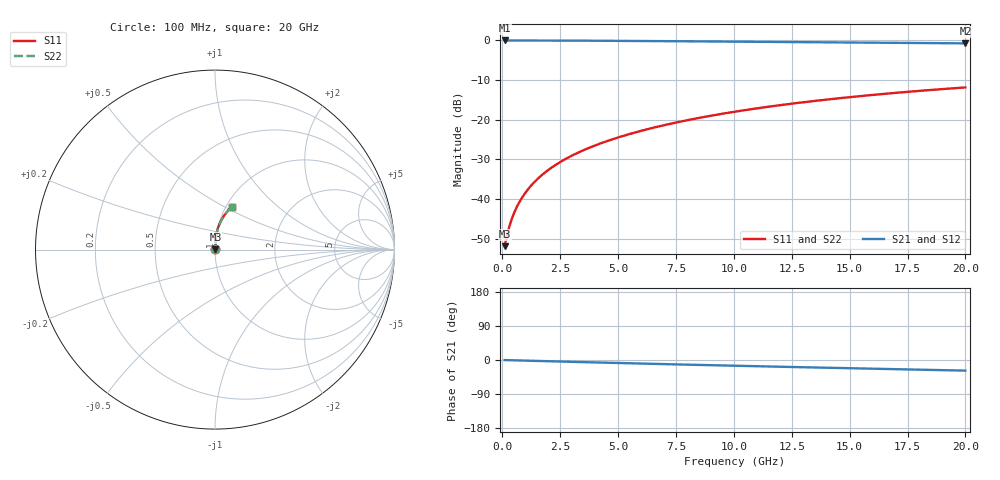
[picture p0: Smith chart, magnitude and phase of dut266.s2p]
! Touchstone file exported from HFSS 2024.1.0
!  File:  C:/UserFiles/LocalFiles/RDL_TSV_Batchsim/temp_RDL_top_266_1778689493.aedt
!  Generated:  12:27:08 AM May 14, 2026
!  Design:  RDL_top
!  Project:  temp_RDL_top_266_1778689493
!  Setup:  Setup1
!  Solution:  Sweep
! Variables:
!  dtsv = 10.80580581um
!  hbump = 3um
!  htsv = 87.51um
!  ldown = 100um
!  lrdl = 408.91um
!  p = 40
!  p1 = 41.07um
!  rhole = 1um
!  t = 450um
!  tdown = 3.915915916um
!  trdl = 3.55um
!  wdown = 15.38538539um
!  wrdl = 20.62um
# GHz S MA R 50.000000
! Terminal data exported
! Port[1] = Box2_T1
! Port[2] = Box2_T2
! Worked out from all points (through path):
!   200 points, 100 MHz to 20 GHz, reference 50 ohm
!   highest |S21| = -0.02 dB at 100 MHz (marker M1); lowest = -0.7 dB at 20 GHz (marker M2)
!   group delay of S21, straight-line fit = 3.86 ps
!   lowest |S11| = -51.9 dB at 100 MHz (marker M3), VSWR 1.01, Z = 50.2 + j0.132 ohm
!   |S11| at or under -10 dB: start of sweep to end of sweep
!   |S22| runs from -51.9 to -11.9 dB; largest |S21 - S12| = 3.3e-15
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0.1  0.002545 31.0  0.9978 -0.2  0.9978 -0.2  0.002545 31.0
! Gamma 0 0 0 0
! Port Impedance 50 0 50 0
0.2  0.003437 48.3  0.9977 -0.3  0.9977 -0.3  0.003437 48.3
0.3  0.004461 57.5  0.9976 -0.5  0.9976 -0.5  0.004461 57.5
0.4  0.005512 63.1  0.9974 -0.7  0.9974 -0.7  0.005512 63.1
0.5  0.006573 67.0  0.9973 -0.8  0.9973 -0.8  0.006573 67.0
0.6  0.007644 70.0  0.9972 -1.0  0.9972 -1.0  0.007644 70.0
0.8  0.009815 74.1  0.997 -1.3  0.997 -1.3  0.009815 74.1
1  0.01202 76.8  0.9968 -1.6  0.9968 -1.6  0.01202 76.8
1.2  0.01426 78.8  0.9965 -2.0  0.9965 -2.0  0.01426 78.8
1.4  0.01652 80.2  0.9962 -2.3  0.9962 -2.3  0.01652 80.2
1.7  0.01994 81.8  0.9958 -2.8  0.9958 -2.8  0.01994 81.8
2.2  0.02573 83.4  0.9948 -3.6  0.9948 -3.6  0.02573 83.4
2.8  0.03278 84.5  0.9934 -4.5  0.9934 -4.5  0.03279 84.6
3.5  0.04117 85.2  0.9914 -5.6  0.9914 -5.6  0.04117 85.2
4.2  0.04972 85.5  0.9891 -6.7  0.9891 -6.7  0.04972 85.5
5  0.0597 85.6  0.9862 -7.9  0.9862 -7.9  0.0597 85.6
6.8  0.08285 84.8  0.9788 -10.6  0.9788 -10.6  0.08286 84.8
8.4  0.104 83.4  0.9716 -12.9  0.9716 -12.9  0.1041 83.4
10.1  0.1269 81.6  0.9638 -15.2  0.9638 -15.2  0.1269 81.6
13.4  0.1713 77.5  0.9484 -19.7  0.9484 -19.7  0.1713 77.5
16.7  0.2144 73.0  0.9329 -23.9  0.9329 -23.9  0.2144 73.0
20  0.2553 68.6  0.9173 -28.0  0.9173 -28.0  0.2554 68.6
